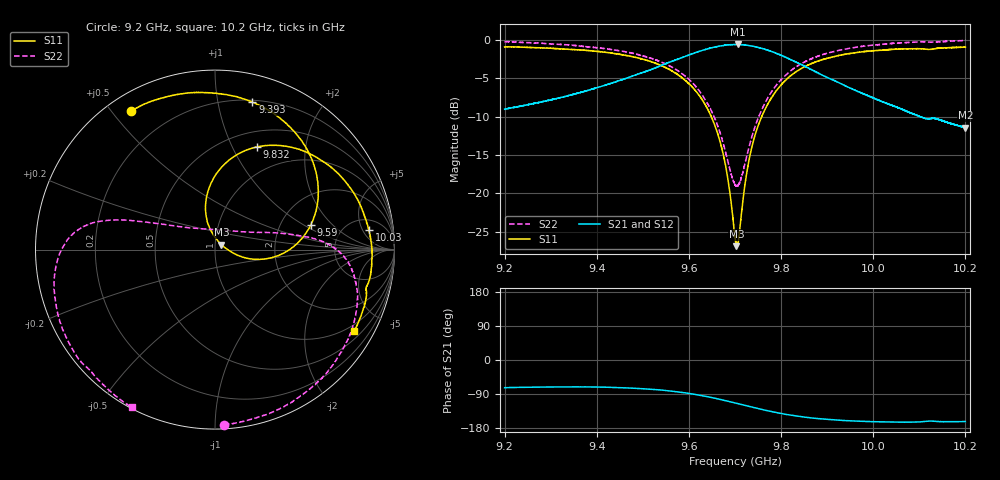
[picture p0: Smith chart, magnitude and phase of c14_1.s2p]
!Agilent Technologies,N5242A,MY51221714,A.09.90.19
!Agilent N5242A: A.09.90.19
!Date: Saturday, March 16, 2024 10:27:16
!Correction: S11(Full 2 Port(1,2))
!S21(Full 2 Port(1,2))
!S12(Full 2 Port(1,2))
!S22(Full 2 Port(1,2))
!S2P File: Measurements: S11, S21, S12, S22:
# Hz S  dB  R 50
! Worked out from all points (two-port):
!   16001 points, 9.2 GHz to 10.2 GHz, reference 50 ohm
!   highest |S21| = -0.57 dB at 9.706 GHz (marker M1); lowest = -11.5 dB at 10.2 GHz (marker M2)
!   |S21| within 3 dB of the highest: 9.529343 GHz to 9.529386 GHz (42.41 kHz wide, 0.000445 % of centre); 9.53 GHz to 9.856 GHz (326.7 MHz wide, 3.37 % of centre)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
!   lowest |S11| = -26.9 dB at 9.703 GHz (marker M3), VSWR 1.09, Z = 53.6 + j2.94 ohm
!   |S11| at or under -10 dB: 9.648 GHz to 9.758 GHz (109.4 MHz wide, 1.13 % of centre); 9.757928 GHz to 9.75794 GHz (12.28 kHz wide, 0.000126 % of centre)
!   |S22| runs from -19.1 to -0.1 dB; largest |S21 - S12| = 0.012
!   S11 on the Smith chart (normalised r, x): 9.2 GHz: 0.07, +0.56; 9.393 GHz: 0.22, +1.26; 9.59 GHz: 2.95, +1.18; 9.832 GHz: 0.68, +1.25; 10.03 GHz: 8, +7; 10.2 GHz: 0.76, -3.53
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9.2e9  -0.90 121.2  -9.03 -73.0  -9.01 -73.6  -0.19 -87.1
9.277688e9  -1.01 103.6  -8.10 -71.5  -8.09 -71.9  -0.41 -65.5
9.366688e9  -1.31 82.5  -6.81 -71.1  -6.79 -71.5  -0.79 -41.8
9.393375e9  -1.44 75.7  -6.34 -71.2  -6.32 -71.8  -0.95 -34.8
9.463812e9  -2.02 56.5  -5.00 -73.5  -4.99 -74.0  -1.56 -18.4
9.533375e9  -3.16 34.9  -3.48 -78.6  -3.47 -79.1  -2.70 -4.2
9.589875e9  -5.16 14.5  -2.18 -86.4  -2.16 -87.0  -4.61 4.9
9.661625e9  -12.08 -12.5  -0.84 -102.4  -0.84 -102.9  -11.08 20.1
9.681875e9  -17.17 -14.5  -0.66 -108.0  -0.65 -108.5  -15.21 35.6
9.7e9  -25.62 18.6  -0.58 -113.4  -0.56 -114.0  -18.93 73.8
9.703e9  -26.91 37.4  -0.59 -114.3  -0.57 -114.9  -19.07 83.0
9.70575e9  -26.69 55.6  -0.57 -115.2  -0.57 -115.7  -19.05 91.8
9.7275e9  -16.60 105.2  -0.70 -121.7  -0.68 -122.4  -14.69 139.0
9.749062e9  -11.39 100.9  -0.94 -128.0  -0.94 -128.7  -10.37 152.9
9.784625e9  -7.04 87.0  -1.60 -137.5  -1.62 -138.2  -6.29 160.7
9.831688e9  -4.17 67.7  -2.85 -147.5  -2.87 -148.0  -3.53 166.4
9.866688e9  -3.05 54.6  -3.90 -153.0  -3.89 -153.5  -2.42 170.9
9.947375e9  -1.78 28.9  -6.20 -160.4  -6.20 -160.8  -1.08 -175.7
1.002925e10  -1.26 7.2  -8.27 -163.4  -8.27 -164.0  -0.51 -158.6
1.003338e10  -1.26 6.0  -8.38 -163.5  -8.37 -164.0  -0.48 -157.6
1.011031e10  -1.17 -12.1  -10.19 -162.6  -10.19 -163.2  -0.22 -140.3
1.02e10  -0.94 -30.4  -11.45 -162.4  -11.44 -163.0  -0.06 -117.7
